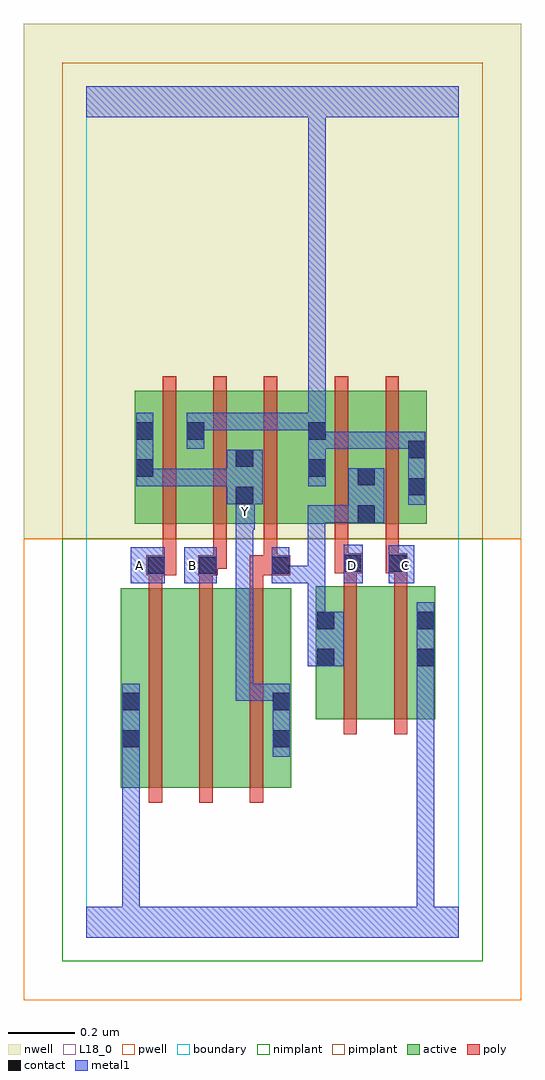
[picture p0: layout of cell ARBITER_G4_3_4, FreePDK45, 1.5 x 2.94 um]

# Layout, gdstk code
import gdstk
lib = gdstk.Library(unit=1e-6, precision=1e-09)
def R(c, l, rs):  # rectangles x0, y0, x1, y1
    for r in rs: c.add(gdstk.rectangle(r[:2], r[2:], *l))
def A(c, l, x, y, w, h, nx, ny, dx, dy):  # array of equal rectangles
    R(c, l, [(x+i*dx, y+j*dy, x+i*dx+w, y+j*dy+h) for i in range(nx) for j in range(ny)])
active = (1, 0)
pwell = (2, 0)
nwell = (3, 0)
nimplant = (4, 0)
pimplant = (5, 0)
poly = (9, 0)
contact = (10, 0)
metal1 = (11, 0)
L18_0 = (18, 0)
boundary = (235, 0)

arbiter_g4_3_4 = lib.new_cell('ARBITER_G4_3_4')
R(arbiter_g4_3_4, active, [(0.104,0.45,0.284,1.05), (0.104,0.45,0.164,1.05), (0.284,0.45,0.436,1.05), (0.436,0.45,0.616,1.05), (0.556,0.556,0.616,1.05), (0.69,0.656,0.75,1.056), (0.69,0.656,0.87,1.056), (0.87,0.656,1.05,1.056), (0.99,0.656,1.05,1.056), (0.146,1.244,0.206,1.644), (0.146,1.244,0.358,1.644), (0.298,1.244,0.506,1.644), (0.446,1.244,0.724,1.644), (0.664,1.244,0.872,1.644), (0.812,1.244,0.872,1.644), (0.812,1.244,1.024,1.644), (0.964,1.244,1.024,1.644), (0.446,1.3,0.506,1.644), (0.664,1.382,0.724,1.644), (0.298,1.494,0.358,1.644)])
R(arbiter_g4_3_4, pwell, [(-0.188,-0.188,1.308,1.2)])
R(arbiter_g4_3_4, nwell, [(-0.188,1.2,1.308,2.748)])
R(arbiter_g4_3_4, nimplant, [(-0.072,-0.072,1.192,1.2)])
R(arbiter_g4_3_4, pimplant, [(-0.072,1.2,1.192,2.632)])
A(arbiter_g4_3_4, poly, 0.188, 0.406, 0.04, 0.688, 3, 1, 0.152, 0)
A(arbiter_g4_3_4, poly, 0.188, 1.054, 0.04, 0.076, 3, 1, 0.152, 0)
A(arbiter_g4_3_4, poly, 0.23, 1.11, 0.04, 0.13, 3, 1, 0.152, 0)
A(arbiter_g4_3_4, poly, 0.23, 1.2, 0.04, 0.488, 3, 1, 0.152, 0)
R(arbiter_g4_3_4, poly, [(0.774,0.612,0.814,1.1), (0.926,0.612,0.966,1.1), (0.774,1.06,0.814,1.136), (0.926,1.06,0.966,1.136), (0.18,1.09,0.27,1.15), (0.188,1.09,0.228,1.13), (0.188,1.09,0.228,1.13), (0.336,1.09,0.396,1.15), (0.492,1.09,0.614,1.15), (0.748,1.096,0.83,1.156), (0.774,1.096,0.814,1.136), (0.774,1.096,0.814,1.136), (0.9,1.096,0.966,1.156), (0.926,1.096,0.966,1.136), (0.926,1.096,0.966,1.136), (0.356,1.11,0.396,1.15), (0.356,1.11,0.422,1.15), (0.534,1.11,0.574,1.15), (0.534,1.11,0.574,1.15), (0.748,1.116,0.788,1.24), (0.9,1.116,0.94,1.24), (0.748,1.2,0.788,1.688), (0.9,1.2,0.94,1.688)])
R(arbiter_g4_3_4, contact, [(0.108,0.572,0.16,0.624), (0.56,0.572,0.612,0.624), (0.108,0.684,0.16,0.736), (0.56,0.684,0.612,0.736), (0.694,0.816,0.746,0.868), (0.994,0.816,1.046,0.868), (0.694,0.928,0.746,0.98), (0.994,0.928,1.046,0.98), (0.184,1.094,0.236,1.146), (0.34,1.094,0.392,1.146), (0.558,1.094,0.61,1.146), (0.774,1.1,0.826,1.152), (0.91,1.1,0.962,1.152), (0.816,1.248,0.868,1.3), (0.45,1.304,0.502,1.356), (0.968,1.33,1.02,1.382), (0.816,1.36,0.868,1.412), (0.15,1.386,0.202,1.438), (0.668,1.386,0.72,1.438), (0.45,1.416,0.502,1.468), (0.968,1.442,1.02,1.494), (0.15,1.498,0.202,1.55), (0.302,1.498,0.354,1.55), (0.668,1.498,0.72,1.55)])
R(arbiter_g4_3_4, metal1, [(0,0,1.12,0.092), (0.108,0.04,0.16,0.092), (0.108,0.04,0.16,0.092), (0.108,0.04,0.16,0.092), (0.108,0.04,0.16,0.092), (0.108,0.04,0.16,0.092), (0.108,0.04,0.16,0.092), (0.108,0.04,0.16,0.092), (0.108,0.04,0.16,0.092), (0.108,0.04,0.16,0.596), (0.994,0.04,1.046,0.092), (0.994,0.04,1.046,0.092), (0.994,0.04,1.046,0.092), (0.994,0.04,1.046,0.092), (0.994,0.04,1.046,0.092), (0.994,0.04,1.046,0.092), (0.994,0.04,1.046,0.092), (0.994,0.04,1.046,0.092), (0.994,0.04,1.046,0.84), (0.108,0.544,0.16,0.764), (0.56,0.544,0.612,0.764), (0.45,0.712,0.502,0.764), (0.45,0.712,0.502,0.764), (0.45,0.712,0.502,0.764), (0.45,0.712,0.612,0.764), (0.45,0.712,0.502,1.278), (0.994,0.788,1.046,0.84), (0.994,0.788,1.046,0.84), (0.994,0.788,1.046,0.84), (0.994,0.788,1.046,0.84), (0.994,0.788,1.046,1.008), (0.666,0.816,0.774,0.98), (0.666,0.928,0.718,1.118), (0.134,1.066,0.236,1.174), (0.294,1.066,0.392,1.174), (0.558,1.066,0.616,1.118), (0.558,1.066,0.61,1.174), (0.564,1.066,0.616,1.118), (0.564,1.066,0.718,1.118), (0.666,1.066,0.718,1.118), (0.666,1.066,0.718,1.118), (0.666,1.066,0.718,1.118), (0.666,1.066,0.718,1.3), (0.774,1.066,0.832,1.182), (0.91,1.066,0.986,1.18), (0.45,1.226,0.506,1.334), (0.666,1.248,0.718,1.3), (0.666,1.248,0.84,1.3), (0.788,1.248,0.84,1.3), (0.788,1.248,0.84,1.3), (0.788,1.248,0.896,1.412), (0.45,1.282,0.502,1.334), (0.45,1.282,0.502,1.334), (0.45,1.282,0.502,1.356), (0.968,1.302,1.02,1.522), (0.422,1.304,0.53,1.468), (0.15,1.358,0.202,1.41), (0.15,1.358,0.202,1.41), (0.15,1.358,0.202,1.578), (0.15,1.358,0.364,1.41), (0.312,1.358,0.364,1.41), (0.312,1.358,0.364,1.41), (0.312,1.358,0.364,1.41), (0.312,1.358,0.474,1.41), (0.668,1.358,0.72,1.578), (0.302,1.47,0.354,1.578), (0.668,1.47,0.83,1.522), (0.778,1.47,0.83,1.522), (0.778,1.47,0.83,1.522), (0.778,1.47,0.83,1.522), (0.778,1.47,1.02,1.522), (0.968,1.47,1.02,1.522), (0.968,1.47,1.02,1.522), (0.302,1.526,0.354,1.578), (0.302,1.526,0.354,1.578), (0.302,1.526,0.502,1.578), (0.45,1.526,0.502,1.578), (0.45,1.526,0.502,1.578), (0.45,1.526,0.502,1.578), (0.45,1.526,0.642,1.578), (0.59,1.526,0.642,1.578), (0.59,1.526,0.72,1.578), (0.668,1.526,0.72,1.578), (0.668,1.526,0.72,1.578), (0.668,1.526,0.72,1.578), (0.668,1.526,0.72,1.578), (0.668,1.526,0.72,1.578), (0.668,1.526,0.72,1.578), (0.668,1.526,0.72,1.578), (0.668,1.526,0.72,1.578), (0.668,1.526,0.72,1.578), (0.668,1.526,0.72,1.578), (0.668,1.526,0.72,2.52), (0,2.468,1.12,2.56), (0.668,2.468,0.72,2.52), (0.668,2.468,0.72,2.52), (0.668,2.468,0.72,2.52), (0.668,2.468,0.72,2.52), (0.668,2.468,0.72,2.52), (0.668,2.468,0.72,2.52)])
R(arbiter_g4_3_4, L18_0, [(0,0,1.12,0.092), (0.108,0.04,0.16,0.092), (0.108,0.04,0.16,0.092), (0.108,0.04,0.16,0.092), (0.108,0.04,0.16,0.092), (0.108,0.04,0.16,0.092), (0.108,0.04,0.16,0.092), (0.108,0.04,0.16,0.092), (0.108,0.04,0.16,0.092), (0.108,0.04,0.16,0.596), (0.994,0.04,1.046,0.092), (0.994,0.04,1.046,0.092), (0.994,0.04,1.046,0.092), (0.994,0.04,1.046,0.092), (0.994,0.04,1.046,0.092), (0.994,0.04,1.046,0.092), (0.994,0.04,1.046,0.092), (0.994,0.04,1.046,0.092), (0.994,0.04,1.046,0.84), (0.108,0.544,0.16,0.764), (0.56,0.544,0.612,0.764), (0.45,0.712,0.502,0.764), (0.45,0.712,0.502,0.764), (0.45,0.712,0.502,0.764), (0.45,0.712,0.502,1.278), (0.45,0.712,0.612,0.764), (0.994,0.788,1.046,0.84), (0.994,0.788,1.046,0.84), (0.994,0.788,1.046,0.84), (0.994,0.788,1.046,0.84), (0.994,0.788,1.046,1.008), (0.134,1.066,0.236,1.174), (0.294,1.066,0.392,1.174), (0.774,1.066,0.832,1.182), (0.91,1.066,0.986,1.18), (0.134,1.094,0.186,1.146), (0.294,1.094,0.346,1.146), (0.774,1.094,0.826,1.146), (0.934,1.094,0.986,1.146), (0.45,1.226,0.506,1.334), (0.454,1.254,0.506,1.306), (0.45,1.282,0.502,1.334), (0.45,1.282,0.502,1.334), (0.45,1.282,0.502,1.356), (0.968,1.302,1.02,1.522), (0.422,1.304,0.53,1.468), (0.15,1.358,0.202,1.41), (0.15,1.358,0.202,1.41), (0.15,1.358,0.202,1.578), (0.15,1.358,0.364,1.41), (0.312,1.358,0.364,1.41), (0.312,1.358,0.364,1.41), (0.312,1.358,0.364,1.41), (0.312,1.358,0.474,1.41), (0.668,1.358,0.72,1.578), (0.302,1.47,0.354,1.578), (0.668,1.47,0.83,1.522), (0.778,1.47,0.83,1.522), (0.778,1.47,0.83,1.522), (0.778,1.47,0.83,1.522), (0.778,1.47,1.02,1.522), (0.968,1.47,1.02,1.522), (0.968,1.47,1.02,1.522), (0.302,1.526,0.354,1.578), (0.302,1.526,0.354,1.578), (0.302,1.526,0.502,1.578), (0.45,1.526,0.502,1.578), (0.45,1.526,0.502,1.578), (0.45,1.526,0.502,1.578), (0.45,1.526,0.642,1.578), (0.59,1.526,0.642,1.578), (0.59,1.526,0.72,1.578), (0.668,1.526,0.72,1.578), (0.668,1.526,0.72,1.578), (0.668,1.526,0.72,1.578), (0.668,1.526,0.72,1.578), (0.668,1.526,0.72,1.578), (0.668,1.526,0.72,1.578), (0.668,1.526,0.72,1.578), (0.668,1.526,0.72,1.578), (0.668,1.526,0.72,1.578), (0.668,1.526,0.72,1.578), (0.668,1.526,0.72,2.52), (0,2.468,1.12,2.56), (0.668,2.468,0.72,2.52), (0.668,2.468,0.72,2.52), (0.668,2.468,0.72,2.52), (0.668,2.468,0.72,2.52), (0.668,2.468,0.72,2.52), (0.668,2.468,0.72,2.52)])
R(arbiter_g4_3_4, boundary, [(0,0,1.12,2.56)])
arbiter_g4_3_4.add(gdstk.Label('A', (0.16,1.12), layer=11, texttype=0))
arbiter_g4_3_4.add(gdstk.Label('B', (0.32,1.12), layer=11, texttype=0))
arbiter_g4_3_4.add(gdstk.Label('C', (0.96,1.12), layer=11, texttype=0))
arbiter_g4_3_4.add(gdstk.Label('D', (0.8,1.12), layer=11, texttype=0))
arbiter_g4_3_4.add(gdstk.Label('Y', (0.48,1.28), layer=11, texttype=0))

lib.write_gds('ARBITER_G4_3_4.gds')
